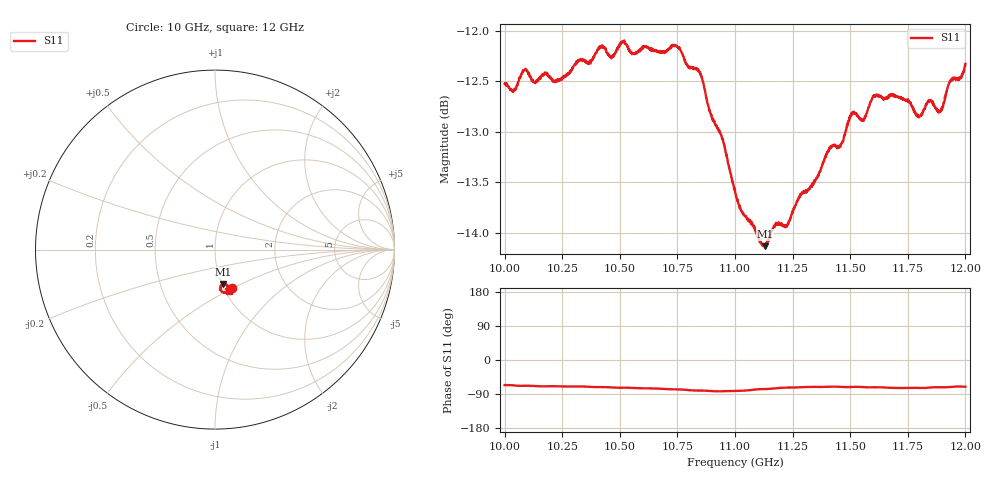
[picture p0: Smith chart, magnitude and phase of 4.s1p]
[Version] 2.0
! Rohde & Schwarz Vector Network Analyzer
! Rohde-Schwarz,ZNL20-2Port,1323001220200009,1.71.1.10-23.02.1.238
! Port Assignments:
! Nominal Port -> Actual Test Port
!  1 -> 1
! Created: GMT 2024-09-04 14:19:38
# Hz S DB R 50
[Number of Ports] 1
! freq[Hz]  S11[mag dB]  S11[ang]
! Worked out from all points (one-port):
!   2001 points, 10 GHz to 12 GHz, reference 50 ohm
!   lowest |S11| = -14.1 dB at 11.13 GHz (marker M1), VSWR 1.49, Z = 50.8 - j20.2 ohm
!   |S11| at or under -10 dB: start of sweep to end of sweep
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[Number of Frequencies] 28
[Network Data]
1e10  -12.52 -66.0
1.004e10  -12.59 -67.0
1.0088e10  -12.38 -68.0
1.0127e10  -12.51 -68.6
1.025e10  -12.46 -69.6
1.0413e10  -12.15 -71.5
1.0463e10  -12.27 -72.2
1.05e10  -12.13 -73.2
1.0559e10  -12.22 -73.7
1.075e10  -12.16 -77.6
1.0851e10  -12.43 -80.7
1.0893e10  -12.82 -81.8
1.0926e10  -12.97 -82.7
1.1e10  -13.58 -81.6
1.103e10  -13.79 -81.1
1.113e10  -14.13 -76.5
1.125e10  -13.79 -72.7
1.141e10  -13.16 -70.5
1.1461e10  -13.12 -71.0
1.15e10  -12.84 -71.3
1.1557e10  -12.88 -71.5
1.1609e10  -12.64 -72.0
1.175e10  -12.68 -73.7
1.1795e10  -12.84 -73.6
1.1843e10  -12.69 -72.8
1.189e10  -12.80 -71.9
1.1933e10  -12.50 -71.2
1.2e10  -12.33 -70.5
[End]
